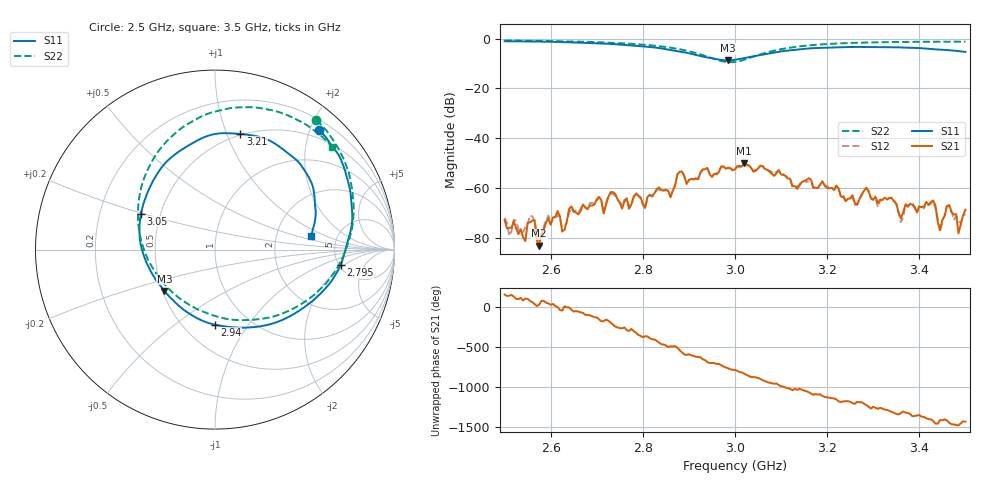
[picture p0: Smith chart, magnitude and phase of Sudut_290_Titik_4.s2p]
# Hz S RI R 50
! CMT, C1220, 16058040, 17.2.0/1
! Date: 15/08/2018 10:35:51
! Data: Format (Calibration Info)
! Freq  S11: Re/Im (F2)  S21: Re/Im (F2)  S12: Re/Im (F2)  S22: Re/Im (F2)
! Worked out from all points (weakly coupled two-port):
!   201 points, 2.5 GHz to 3.5 GHz, reference 50 ohm
!   highest |S21| = -50.06 dB at 3.02 GHz (marker M1); lowest = -83.3 dB at 2.575 GHz (marker M2)
!   lowest |S11| = -8.8 dB at 2.985 GHz (marker M3), VSWR 2.14, Z = 25.6 - j13.6 ohm
!   |S11| at or under -10 dB: nowhere
!   |S22| runs from -9.5 to -0.7 dB; largest |S21 - S12| = 0.00024
!   S11 on the Smith chart (normalised r, x): 2.5 GHz: 0.35, +2.15; 2.795 GHz: 5.18, -1.74; 2.94 GHz: 0.70, -0.71; 3.05 GHz: 0.39, +0.20; 3.21 GHz: 0.49, +1.12; 3.5 GHz: 3.18, +0.70
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2.5e9  0.5807 0.6678  -0.000198 0.000105  -0.00021 0.000129  0.5646 0.723
2.51e9  0.5959 0.6513  -0.000118 0.000105  -5.18e-05 9.5e-05  0.5758 0.7124
2.56e9  0.6524 0.576  0.000113 0.000186  0.00013 0.000231  0.6321 0.6485
2.575e9  0.6735 0.5495  6.17e-05 2.98e-05  5.14e-05 5.25e-05  0.6482 0.6256
2.67e9  0.7513 0.3381  0.000114 -0.000447  5.96e-05 -0.00046  0.7373 0.4514
2.795e9  0.7002 -0.0847  0.000646 -2.85e-05  0.000597 -7.65e-05  0.7575 0.0928
2.835e9  0.6036 -0.2292  5.95e-05 -0.00101  5.41e-05 -0.000925  0.7025 -0.0614
2.94e9  -0.00101 -0.4182  0.00214 0.0013  0.00206 0.0014  0.1812 -0.3924
2.985e9  -0.2814 -0.2307  0.00174 -0.0018  0.00182 -0.00183  -0.1734 -0.2887
3e9  -0.3495 -0.1363  0.000898 -0.00219  0.000731 -0.00219  -0.273 -0.2024
3.02e9  -0.4069 -0.00125  -0.00126 -0.00287  -0.00123 -0.00285  -0.3715 -0.0602
3.05e9  -0.4126 0.2  -0.00236 -0.000594  -0.00247 -0.000669  -0.4293 0.1785
3.17e9  -0.00951 0.6421  0.000959 -0.000282  0.000993 -0.000168  -0.0787 0.7403
3.21e9  0.1421 0.6442  0.000527 -0.000848  0.000464 -0.000859  0.0661 0.7843
3.335e9  0.4675 0.4855  -0.000506 0.000368  -0.000504 0.000362  0.4022 0.7495
3.36e9  0.5059 0.4301  -0.000109 0.000217  -7.43e-05 0.00019  0.4501 0.7271
3.37e9  0.5205 0.4066  -0.000238 0.000389  -0.000233 0.000413  0.47 0.7168
3.43e9  0.5564 0.257  0.000531 0.000168  0.000495 0.000197  0.5646 0.6555
3.445e9  0.5606 0.219  0.000124 6.83e-05  0.000129 1.2e-05  0.5861 0.6369
3.465e9  0.5588 0.1714  0.000449 -3.8e-05  0.000412 -5.38e-05  0.6111 0.616
3.485e9  0.5477 0.119  9.55e-05 -7.51e-05  0.000156 -0.000138  0.6343 0.5912
3.5e9  0.535 0.0784  0.000357 6.68e-05  0.000297 -7.05e-05  0.6512 0.5742
